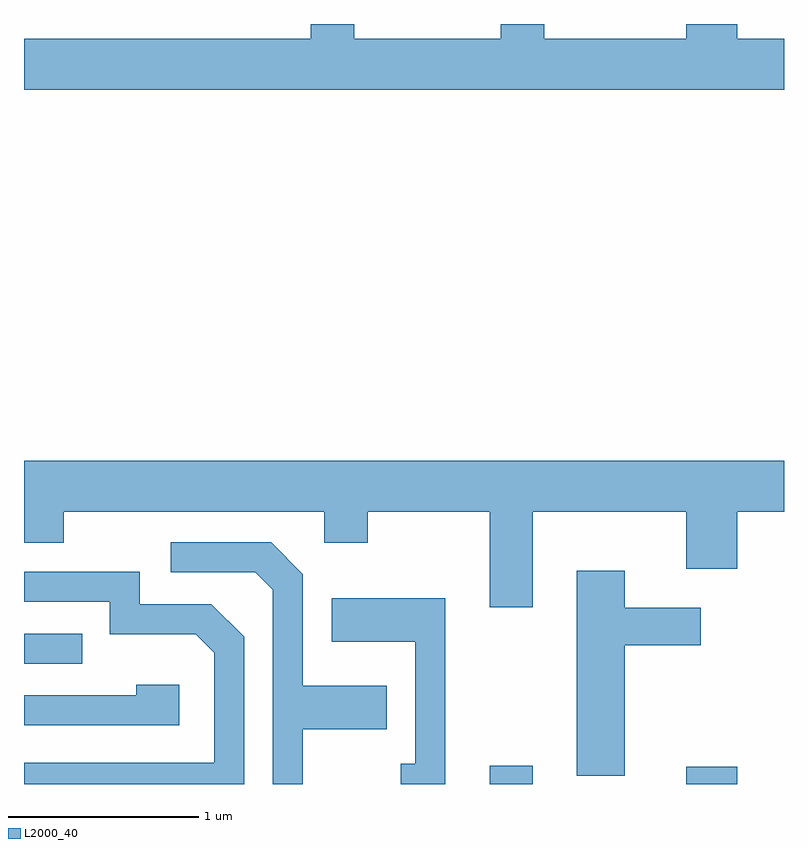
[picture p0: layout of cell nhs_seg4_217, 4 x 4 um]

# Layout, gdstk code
import gdstk
lib = gdstk.Library(unit=1e-6, precision=1e-09)
def R(c, l, rs):  # rectangles x0, y0, x1, y1
    for r in rs: c.add(gdstk.rectangle(r[:2], r[2:], *l))
def P(c, l, *ps):  # polygons
    for p in ps: c.add(gdstk.Polygon(p, *l))
L2000_40 = (2000, 40)

nhs_seg4_217 = lib.new_cell('nhs_seg4_217')
R(nhs_seg4_217, L2000_40, [(194.061,1279.982,194.289,1280.079), (195.096,1279.982,195.364,1280.074), (191.611,1280.616,191.918,1280.774)])
P(nhs_seg4_217, L2000_40, [(195.611,1283.904),(195.364,1283.904),(195.364,1283.982),(195.096,1283.982),(195.096,1283.904),(194.349,1283.904),(194.349,1283.982),(194.121,1283.982),(194.121,1283.904),(193.349,1283.904),(193.349,1283.982),(193.121,1283.982),(193.121,1283.904),(191.611,1283.904),(191.611,1283.636),(195.611,1283.636)],
  [(194.289,1281.416),(195.096,1281.416),(195.096,1281.116),(195.364,1281.116),(195.364,1281.416),(195.611,1281.416),(195.611,1281.684),(191.611,1281.684),(191.611,1281.251),(191.819,1281.251),(191.819,1281.416),(193.191,1281.416),(193.191,1281.251),(193.419,1281.251),(193.419,1281.416),(194.061,1281.416),(194.061,1280.911),(194.289,1280.911)],
  [(193.079,1280.271),(193.519,1280.271),(193.519,1280.499),(193.079,1280.499),(193.079,1281.087),(192.912,1281.254),(192.383,1281.254),(192.383,1281.096),(192.829,1281.096),(192.921,1281.004),(192.921,1279.982),(193.079,1279.982)],
  [(194.774,1280.711),(195.174,1280.711),(195.174,1280.909),(194.774,1280.909),(194.774,1281.104),(194.521,1281.104),(194.521,1280.026),(194.774,1280.026)],
  [(192.769,1280.757),(192.597,1280.929),(192.219,1280.929),(192.219,1281.099),(191.611,1281.099),(191.611,1280.941),(192.061,1280.941),(192.061,1280.771),(192.514,1280.771),(192.611,1280.674),(192.611,1280.094),(191.611,1280.094),(191.611,1279.982),(192.769,1279.982)],
  [(193.829,1280.959),(193.231,1280.959),(193.231,1280.731),(193.671,1280.731),(193.671,1280.089),(193.593,1280.089),(193.593,1279.982),(193.829,1279.982)],
  [(192.429,1280.504),(192.201,1280.504),(192.201,1280.449),(191.611,1280.449),(191.611,1280.291),(192.429,1280.291)])

lib.write_gds('nhs_seg4_217.gds')
